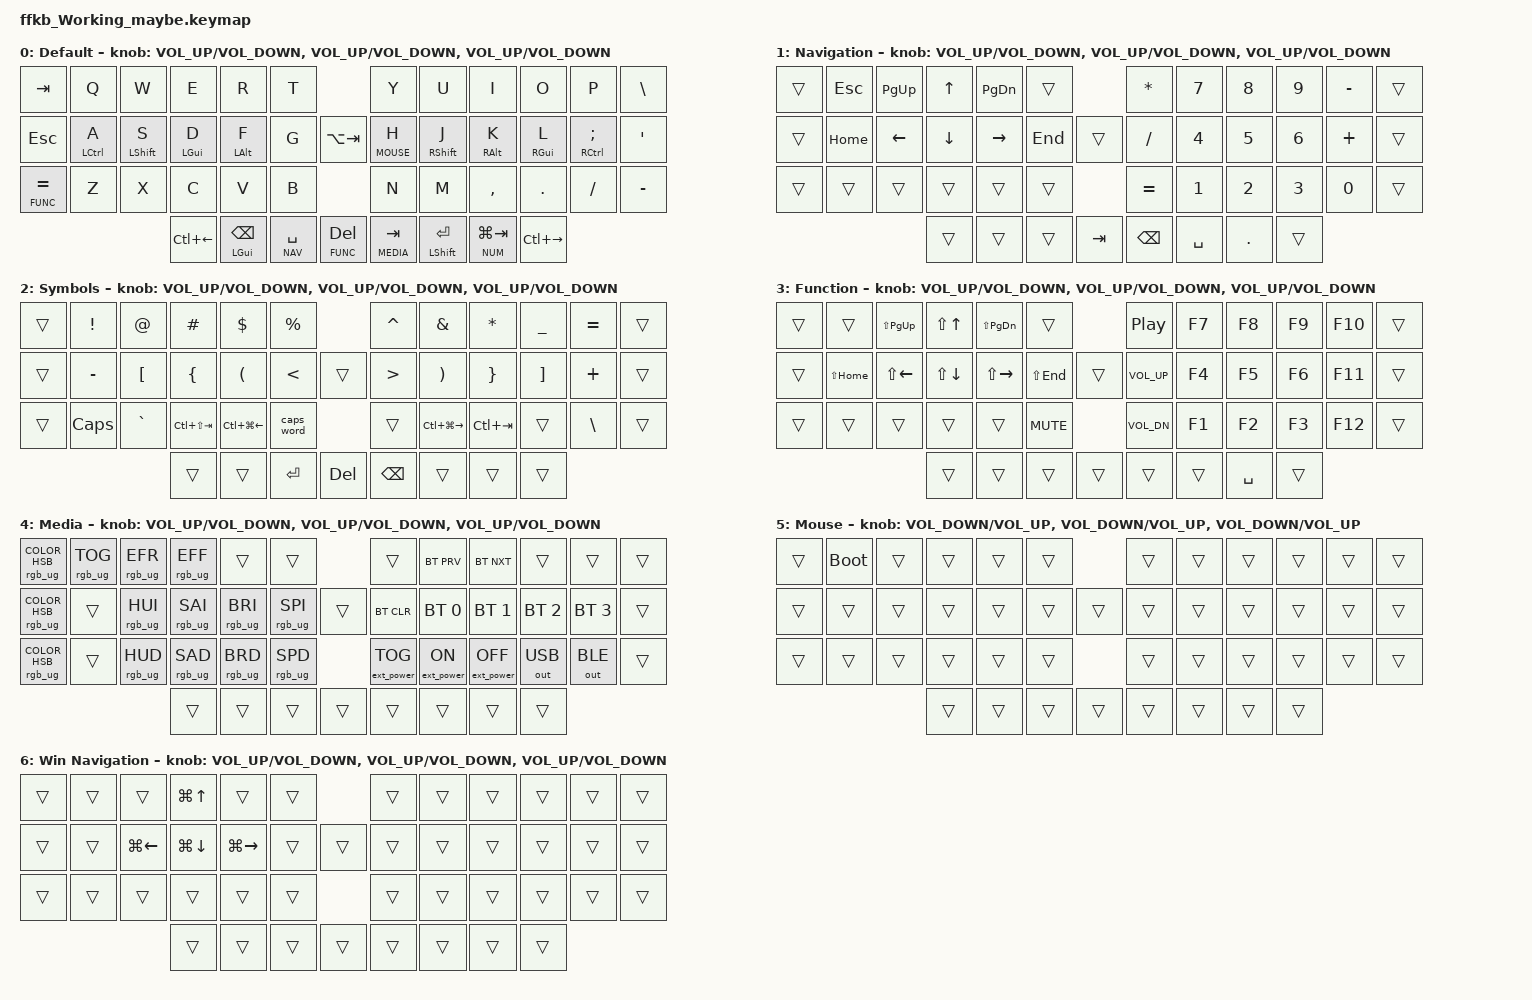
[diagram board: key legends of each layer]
#include <behaviors.dtsi>
#include <dt-bindings/zmk/keys.h>
#include <dt-bindings/zmk/rgb.h>
#include <dt-bindings/zmk/bt.h>
#include <dt-bindings/zmk/ext_power.h>
#include <dt-bindings/zmk/outputs.h>

#define DEFAULT 0
#define NAV     1
#define SYM     2
#define FUNC    3
#define MEDIA   4
#define MOUSE   5
#define WINNAV  6

&caps_word {
    continue-list = <UNDERSCORE MINUS>;
};

/ {
    combos {
        compatible = "zmk,combos";
        combo_undo {
            timeout-ms = <50>;
            key-positions = <26 27>;
            bindings = <&kp LC(Z)>;
        };
        combo_q {
            timeout-ms = <50>;
            key-positions = <27 28>;
            bindings = <&kp Q>;
        };
        combo_semicolon {
            timeout-ms = <50>;
            key-positions = <33 34>;
            bindings = <&kp SEMI>;
        };
    };
};

/ {

    sensors {
        compatible = "zmk,keymap-sensors";
        sensors = <&encoder_1 &encoder_2 &encoder_3>;
    };

    behaviors {
        hm: homerow_mods {
            compatible = "zmk,behavior-hold-tap";
            label = "HOMEROW_MODS";
            #binding-cells = <2>;
            tapping-term-ms = <200>;
            quick_tap_ms = <0>;
            flavor = "balanced";
            bindings = <&kp>, <&kp>;
        };
        hs: homerow_shift {
            compatible = "zmk,behavior-hold-tap";
            label = "HOMEROW_SHIFT";
            #binding-cells = <2>;
            tapping-term-ms = <175>;
            quick_tap_ms = <0>;
            flavor = "balanced";
            bindings = <&kp>, <&kp>;
        };
    };

    keymap {
        compatible = "zmk,keymap";

        default_layer {
            label = "Default";

            sensor-bindings = <&inc_dec_kp C_VOLUME_UP C_VOLUME_DOWN &inc_dec_kp C_VOLUME_UP C_VOLUME_DOWN &inc_dec_kp C_VOLUME_UP C_VOLUME_DOWN>;

            bindings = <
    &kp TAB    &kp Q        &kp W        &kp E       &kp R         &kp T                                       &kp Y         &kp U        &kp I  &kp O       &kp P    &kp BSLH
    &kp ESC    &hm LCTL A   &hm LSHIFT S   &hm LGUI D  &hm LALT F  &kp G            &kp LA(TAB)                &lt MOUSE H   &hm RSHIFT J &hm RALT K    &hm RGUI L  &hm RCTL SEMI  &kp SQT
    &lt FUNC EQUAL &kp Z        &kp X        &kp C       &kp V         &kp B                                       &kp N         &kp M        &kp COMMA     &kp DOT     &kp FSLH    &kp MINUS
                                         &kp LC(LEFT)  &hm LGUI BSPC   &lt NAV SPACE  &lt FUNC DEL  &lt MEDIA TAB   &hs LSHIFT RET &lt NUM LG(TAB)      &kp LC(RIGHT)
            >;
        };

        nav_layer {
            label = "Navigation";
            
            sensor-bindings = <&inc_dec_kp C_VOLUME_UP C_VOLUME_DOWN &inc_dec_kp C_VOLUME_UP C_VOLUME_DOWN &inc_dec_kp C_VOLUME_UP C_VOLUME_DOWN>;
            
            bindings = <
    &trans     &kp ESC      &kp PG_UP    &kp UP      &kp PG_DN     &trans                                      &kp ASTRK     &kp N7       &kp N8        &kp N9      &kp MINUS   &trans
    &trans     &kp HOME     &kp LEFT     &kp DOWN    &kp RIGHT     &kp END              &trans                 &kp FSLH      &kp N4       &kp N5        &kp N6      &kp PLUS    &trans
    &trans     &trans       &trans       &trans      &trans        &trans                                      &kp EQUAL     &kp N1       &kp N2        &kp N3      &kp N0      &trans
                                         &trans      &trans        &trans       &kp TAB       &kp BSPC         &kp SPACE     &kp DOT      &trans
            >;
        };

        sym_layer {
            label = "Symbols";
            
            sensor-bindings = <&inc_dec_kp C_VOLUME_UP C_VOLUME_DOWN &inc_dec_kp C_VOLUME_UP C_VOLUME_DOWN &inc_dec_kp C_VOLUME_UP C_VOLUME_DOWN>;
            
            bindings = <
    &trans     &kp EXCL     &kp AT       &kp HASH        &kp DLLR         &kp PRCNT                                   &kp CARET     &kp AMPS          &kp ASTRK     &kp UNDER   &kp EQUAL   &trans
    &trans     &kp MINUS    &kp LBKT     &kp LBRC        &kp LPAR         &kp LT                &trans                &kp GT        &kp RPAR          &kp RBRC      &kp RBKT    &kp PLUS    &trans
    &trans     &kp CAPS     &kp GRAVE    &kp LC(LS(TAB)) &kp LC(LG(LEFT)) &caps_word                                  &trans        &kp LC(LG(RIGHT)) &kp LC(TAB)   &trans      &kp BSLH    &trans
                                         &trans          &trans           &kp RET       &kp DEL        &kp BSPC       &trans        &trans            &trans
            >;
        };

        func_layer {
            label = "Function";

            sensor-bindings = <&inc_dec_kp C_VOLUME_UP C_VOLUME_DOWN &inc_dec_kp C_VOLUME_UP C_VOLUME_DOWN &inc_dec_kp C_VOLUME_UP C_VOLUME_DOWN>;
            
            bindings = <
    &trans     &trans       &kp LS(PG_UP) &kp LS(UP)   &kp LS(PG_DN) &trans                                      &kp C_PLAY_PAUSE &kp F7       &kp F8        &kp F9      &kp F10     &trans
    &trans     &kp LS(HOME) &kp LS(LEFT)  &kp LS(DOWN) &kp LS(RIGHT) &kp LS(END)           &trans                &kp K_VOL_UP     &kp F4       &kp F5        &kp F6      &kp F11     &trans
    &trans     &trans       &trans        &trans       &trans        &kp C_MUTE                                  &kp K_VOL_DN     &kp F1       &kp F2        &kp F3      &kp F12     &trans
                                          &trans       &trans        &trans        &trans         &trans         &trans           &kp SPACE    &trans
            >;
        };

        media_layer {
            label = "Media";
            
            sensor-bindings = <&inc_dec_kp C_VOLUME_UP C_VOLUME_DOWN &inc_dec_kp C_VOLUME_UP C_VOLUME_DOWN &inc_dec_kp C_VOLUME_UP C_VOLUME_DOWN>;
            
            bindings = <
    &rgb_ug RGB_COLOR_HSB(0,0,100)         &rgb_ug RGB_TOG  &rgb_ug RGB_EFR  &rgb_ug RGB_EFF &trans            &trans                            &trans             &bt BT_PRV        &bt BT_NXT         &trans         &trans          &trans
    &rgb_ug RGB_COLOR_HSB(224,100,100)     &trans           &rgb_ug RGB_HUI  &rgb_ug RGB_SAI &rgb_ug RGB_BRI   &rgb_ug RGB_SPI      &trans       &bt BT_CLR         &bt BT_SEL 0      &bt BT_SEL 1       &bt BT_SEL 2   &bt BT_SEL 3    &trans
    &rgb_ug RGB_COLOR_HSB(278,100,100)     &trans           &rgb_ug RGB_HUD  &rgb_ug RGB_SAD &rgb_ug RGB_BRD   &rgb_ug RGB_SPD                   &ext_power EP_TOG  &ext_power EP_ON  &ext_power EP_OFF  &out OUT_USB   &out OUT_BLE    &trans
                                                                            &trans          &trans            &trans        &trans         &trans         &trans           &trans     &trans
            >;
        };

        mouse_layer {
            label = "Mouse";
            
            sensor-bindings = <&inc_dec_kp C_VOLUME_DOWN C_VOLUME_UP &inc_dec_kp C_VOLUME_DOWN C_VOLUME_UP &inc_dec_kp C_VOLUME_DOWN C_VOLUME_UP>;
            
            bindings = <
    &trans     &bootloader &trans      &trans      &trans      &trans                                           &trans      &trans      &trans      &trans      &trans      &trans
    &trans     &trans      &trans      &trans      &trans      &trans                   &trans                  &trans      &trans      &trans      &trans      &trans      &trans
    &trans     &trans      &trans      &trans      &trans      &trans                                           &trans      &trans      &trans      &trans      &trans      &trans
                                         &trans      &trans        &trans        &trans         &trans          &trans      &trans      &trans
            >;
        };

        winnav_layer {
            label = "Win Navigation";
            
            sensor-bindings = <&inc_dec_kp C_VOLUME_UP C_VOLUME_DOWN &inc_dec_kp C_VOLUME_UP C_VOLUME_DOWN &inc_dec_kp C_VOLUME_UP C_VOLUME_DOWN>;
            
            bindings = <
    &trans     &trans       &trans       &kp LG(UP)   &trans        &trans                                      &trans      &trans      &trans      &trans      &trans      &trans
    &trans     &trans       &kp LG(LEFT) &kp LG(DOWN) &kp LG(RIGHT) &trans                &trans                &trans      &trans      &trans      &trans      &trans      &trans
    &trans     &trans       &trans       &trans       &trans        &trans                                      &trans      &trans      &trans      &trans      &trans      &trans
                                         &trans       &trans        &trans        &trans         &trans         &trans        &trans       &trans
            >;
        };
    };
};
